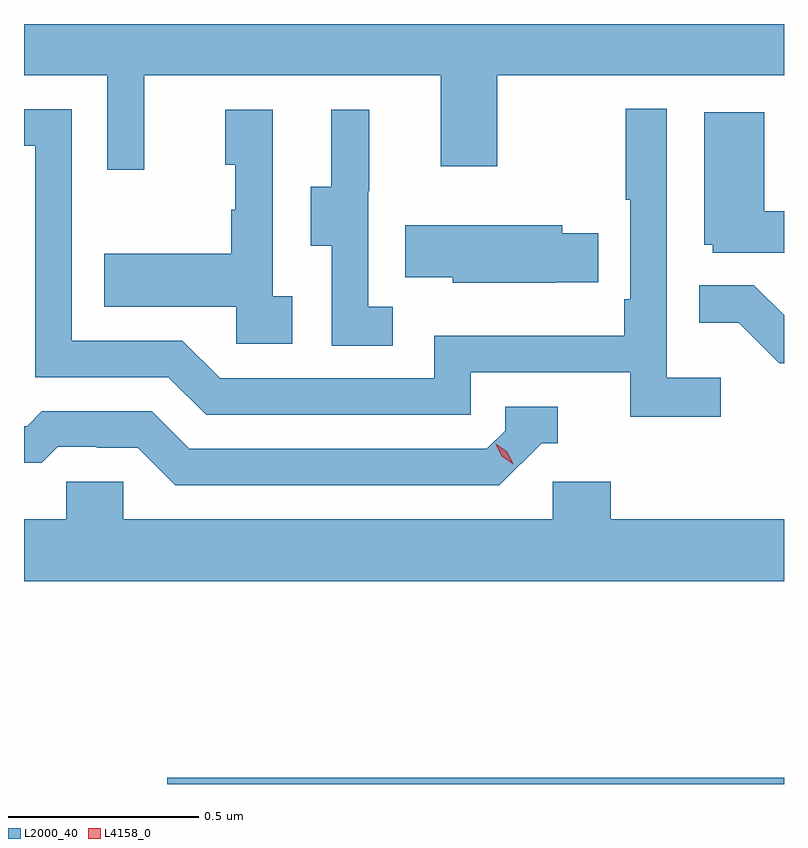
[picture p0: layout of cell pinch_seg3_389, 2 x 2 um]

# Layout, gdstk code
import gdstk
lib = gdstk.Library(unit=1e-6, precision=1e-09)
def R(c, l, rs):  # rectangles x0, y0, x1, y1
    for r in rs: c.add(gdstk.rectangle(r[:2], r[2:], *l))
def P(c, l, *ps):  # polygons
    for p in ps: c.add(gdstk.Polygon(p, *l))
L2000_40 = (2000, 40)
L4158_0 = (4158, 0)

pinch_seg3_389 = lib.new_cell('pinch_seg3_389')
R(pinch_seg3_389, L2000_40, [(1011.971,687.063,1013.594,687.08)])
P(pinch_seg3_389, L2000_40, [(1011.911,688.928),(1012.691,688.928),(1012.691,688.689),(1012.839,688.689),(1012.839,688.928),(1013.594,688.928),(1013.594,689.063),(1011.594,689.063),(1011.594,688.928),(1011.813,688.928),(1011.813,688.68),(1011.911,688.68)],
  [(1013.428,688.132),(1013.286,688.132),(1013.286,688.84),(1013.178,688.84),(1013.178,688.6),(1013.19,688.6),(1013.19,688.339),(1013.173,688.339),(1013.173,688.243),(1012.674,688.243),(1012.674,688.131),(1012.11,688.131),(1012.011,688.23),(1011.72,688.23),(1011.72,688.839),(1011.594,688.839),(1011.594,688.743),(1011.624,688.743),(1011.624,688.134),(1011.974,688.134),(1012.073,688.035),(1012.77,688.035),(1012.77,688.146),(1013.189,688.146),(1013.189,688.03),(1013.428,688.03)],
  [(1012.3,688.346),(1012.248,688.346),(1012.248,688.837),(1012.124,688.837),(1012.124,688.692),(1012.15,688.692),(1012.15,688.574),(1012.14,688.574),(1012.14,688.459),(1011.805,688.459),(1011.805,688.319),(1012.152,688.319),(1012.152,688.221),(1012.3,688.221)],
  [(1012.564,688.319),(1012.5,688.319),(1012.5,688.623),(1012.502,688.623),(1012.502,688.837),(1012.403,688.837),(1012.403,688.635),(1012.349,688.635),(1012.349,688.48),(1012.404,688.48),(1012.404,688.216),(1012.564,688.216)],
  [(1013.594,688.57),(1013.542,688.57),(1013.542,688.831),(1013.384,688.831),(1013.384,688.482),(1013.406,688.482),(1013.406,688.461),(1013.594,688.461)],
  [(1012.994,688.383),(1013.105,688.383),(1013.105,688.512),(1013.011,688.512),(1013.011,688.534),(1012.597,688.534),(1012.597,688.397),(1012.722,688.397),(1012.722,688.382),(1012.994,688.382)],
  [(1013.594,688.297),(1013.515,688.376),(1013.371,688.376),(1013.371,688.277),(1013.475,688.277),(1013.582,688.17),(1013.594,688.17)],
  [(1012.956,687.96),(1012.999,687.96),(1012.999,688.056),(1012.86,688.056),(1012.86,687.993),(1012.812,687.945),(1012.029,687.945),(1011.93,688.044),(1011.641,688.044),(1011.602,688.005),(1011.594,688.005),(1011.594,687.909),(1011.641,687.909),(1011.683,687.951),(1011.786,687.951),(1011.786,687.948),(1011.893,687.948),(1011.992,687.849),(1012.845,687.849)],
  [(1013.594,687.76),(1013.138,687.76),(1013.138,687.858),(1012.986,687.858),(1012.986,687.76),(1011.855,687.76),(1011.855,687.858),(1011.705,687.858),(1011.705,687.76),(1011.594,687.76),(1011.594,687.596),(1013.594,687.596)])
P(pinch_seg3_389, L4158_0, [(1012.881,687.905),(1012.851,687.925),(1012.835,687.958),(1012.835,687.958),(1012.835,687.958),(1012.866,687.938),(1012.881,687.905),(1012.881,687.905)])

lib.write_gds('pinch_seg3_389.gds')
